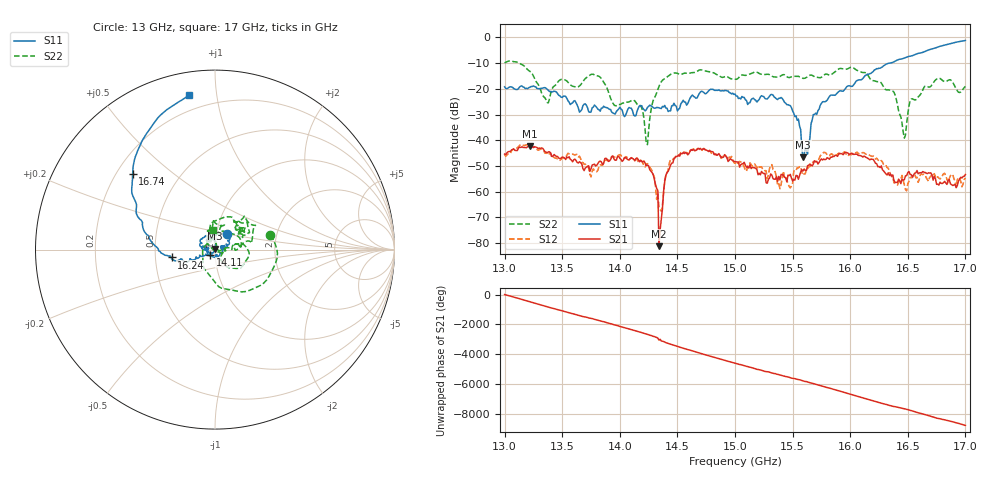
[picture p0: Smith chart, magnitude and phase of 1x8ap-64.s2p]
!Keysight Technologies,P9374A,MY57211807,A.19.30.04
!Date: Friday, May 08, 2026 15:47:29
!Correction: S11(C  2-Port  )
!S21(C  2-Port  )
!S12(C  2-Port  )
!S22(C  2-Port  )
!S2P File: Measurements: S11, S21, S12, S22:
# Hz S  dB  R 50
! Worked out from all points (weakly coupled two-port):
!   401 points, 13 GHz to 17 GHz, reference 50 ohm
!   highest |S21| = -42.28 dB at 13.22 GHz (marker M1); lowest = -81.2 dB at 14.34 GHz (marker M2)
!   lowest |S11| = -46.7 dB at 15.59 GHz (marker M3), VSWR 1.01, Z = 50 + j0.461 ohm
!   |S11| at or under -10 dB: start of sweep to 16.34 GHz
!   |S22| runs from -41.7 to -9.1 dB; largest |S21 - S12| = 0.0018
!   S11 on the Smith chart (normalised r, x): 13 GHz: 1.12, +0.20; 14.11 GHz: 0.95, -0.05; 16.24 GHz: 0.61, -0.06; 16.74 GHz: 0.26, +0.37; 17 GHz: 0.12, +0.84
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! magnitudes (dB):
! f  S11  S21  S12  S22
! 13 GHz  -19.2  -45.4  -45.6  -9.9
! 13.22 GHz  -19.4  -42.3  -42.1  -13.2
! 13.37 GHz  -20.2  -44.8  -45.0  -25.4
! 13.67 GHz  -28.1  -49.2  -48.7  -17.9
! 14.11 GHz  -28.4  -47.1  -47.2  -24.4
! 14.24 GHz  -27.2  -49.7  -49.1  -41.7
! 14.31 GHz  -27.4  -57.3  -57.9  -22.7
! 14.34 GHz  -27.3  -81.2  -66.0  -19.1
! 14.36 GHz  -27.7  -70.7  -67.6  -17.2
! 14.41 GHz  -27.5  -52.5  -53.0  -15.4
! 14.49 GHz  -26.7  -46.3  -45.9  -13.8
! 15 GHz  -22.0  -48.3  -49.0  -16.2
! 15.41 GHz  -23.7  -53.4  -54.6  -14.6
! 15.55 GHz  -31.8  -55.2  -50.8  -15.1
! 15.59 GHz  -46.7  -52.0  -53.6  -15.9
! 15.67 GHz  -32.2  -50.0  -49.1  -14.8
! 16.24 GHz  -12.2  -50.3  -47.6  -17.2
! 16.34 GHz  -10.0  -53.7  -52.0  -20.4
! 16.47 GHz  -8.0  -55.4  -57.3  -39.2
! 16.53 GHz  -7.2  -53.4  -54.5  -23.9
! 16.74 GHz  -4.1  -54.9  -54.3  -16.6
! 17 GHz  -1.2  -53.3  -54.7  -19.0
